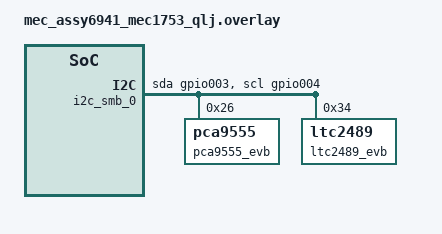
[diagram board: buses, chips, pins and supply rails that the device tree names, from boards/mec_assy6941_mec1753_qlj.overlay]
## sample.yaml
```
sample:
  description: mec_assy6941 with MEC1753Q-LJ I2C pin reuse
  name: mec_assy6941_mec1753_qlj I2C-pin-reuse
tests:
  sample.board.mec_assy6941.i2c_pin_reuse:
    build_only: true
    platform_allow: mec_assy6941/mec1753_qlj
    tags: i2c
    depends_on:
      - gpio
      - i2c
```

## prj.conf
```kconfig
# Enable config log
CONFIG_STDOUT_CONSOLE=y
CONFIG_LOG=y
CONFIG_LOG_BACKEND_UART=y

CONFIG_CONSOLE=y
CONFIG_UART_CONSOLE=y

CONFIG_I2C=y

CONFIG_PM=n
# CONFIG_DEBUG=y
```

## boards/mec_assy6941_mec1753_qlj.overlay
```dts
/*
 * Copyright (c) 2022 Microchip Technology Inc.
 *
 * SPDX-License-Identifier: Apache-2.0
 */

/ {
	aliases {
		i2c0 = &i2c_smb_0;
	};

	zephyr,user {
		i2c-port0-gpios = <MCHP_GPIO_DECODE_003 GPIO_ACTIVE_HIGH>,
				  <MCHP_GPIO_DECODE_004 GPIO_ACTIVE_HIGH>;

/*		pinctrl-0 = <&i2c00_sda_gpio003 &i2c00_scl_gpio004>; */
	};
};

/*
&pinctrl {
	i2c00_sda_gpio003_sleep: i2c00_sda_gpio003_sleep {
		pinmux = <MCHP_XEC_PINMUX(0003, MCHP_GPIO)>;
		low-power-enable;
	};

	i2c00_scl_gpio004_sleep: i2c00_scl_gpio004_sleep {
		pinmux = <MCHP_XEC_PINMUX(0004, MCHP_GPIO)>;
		low-power-enable;
	};

	i2c00_sda_gpio003_gpio: i2c00_sda_gpio003_gpio {
		pinmux = <MCHP_XEC_PINMUX(0003, MCHP_GPIO)>;
	};

	i2c00_scl_gpio004_gpio: i2c00_scl_gpio004_gpio {
		pinmux = <MCHP_XEC_PINMUX(0004, MCHP_GPIO)>;
	};
};
*/

/* I2C Port 0 */
&i2c00_sda_gpio003 {
	drive-open-drain;
	output-enable;
	output-high;
	drive-strength = <2>;
};

&i2c00_scl_gpio004 {
	drive-open-drain;
	output-enable;
	output-high;
	drive-strength = <2>;
};

&i2c_smb_0 {
	compatible = "microchip,xec-i2c-v2";
	status = "okay";

	port-sel = <0>;

	sda-gpios = <MCHP_GPIO_DECODE_003 GPIO_ACTIVE_HIGH>;
	scl-gpios = <MCHP_GPIO_DECODE_004 GPIO_ACTIVE_HIGH>;

	pinctrl-0 = <&i2c00_sda_gpio003 &i2c00_scl_gpio004>;
	pinctrl-names = "default";
/*
	pinctrl-1 = <&i2c00_sda_gpio003_sleep &i2c00_scl_gpio004_sleep>;
	pinctrl-names = "default", "sleep";
*/
	pca9555_evb: pca9555@26 {
		/* compatible = "nxp,pca9555"; */
		reg = <0x26>;
		/* ngpios = <16>; */
		/* gpio-controller; */
		/* #gpio-cells = <2>; */
	};

	ltc2489_evb: ltc2489@34 {
		reg = <0x34>;
		#io-channels-cells = <1>;
	};
};
```

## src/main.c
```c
/*
 * Copyright (c) 2026 Microchip Technology Inc.
 *
 * SPDX-License-Identifier: Apache-2.0
 */

#include <errno.h>
#include <stdio.h>
#include <string.h>
#include <soc.h>
#include <zephyr/kernel.h>
#include <zephyr/device.h>
#include <zephyr/drivers/gpio.h>
#include <zephyr/drivers/i2c.h>
#include <zephyr/drivers/pinctrl.h>
#include <zephyr/logging/log.h>
LOG_MODULE_REGISTER(app, CONFIG_LOG_DEFAULT_LEVEL);

#define I2C_CTRL0_NODE   DT_NODELABEL(i2c_smb_0)
#define ZEPHYR_USER_NODE DT_PATH(zephyr_user)

#define I2C_CTRL0_REG_BASE DT_REG_ADDR(I2C_CTRL0_NODE)

#define MCHP_XEC_I2C_CFG_REG_OFS 0x28U
#define MCHP_XEC_I2C_CFG_EN_POS  10

#define XEC_GPIO_BANK0_BASE_ADDR DT_REG_ADDR(DT_NODELABEL(gpio_000_036))
#define XEC_GPIO_PIN_CTRL_REG_ADDR(bank_base, pin_pos) \
	((uint32_t)(bank_base) + ((uint32_t)(pin_pos) * 4U))

#define XEC_GPIO_003_CR_ADDR XEC_GPIO_PIN_CTRL_REG_ADDR(XEC_GPIO_BANK0_BASE_ADDR, 3U)
#define XEC_GPIO_004_CR_ADDR XEC_GPIO_PIN_CTRL_REG_ADDR(XEC_GPIO_BANK0_BASE_ADDR, 4U)

#define PCA9555_CMD_PORT0_IN  0
#define PCA9555_CMD_PORT1_IN  1u
#define PCA9555_CMD_PORT0_OUT 2u
#define PCA9555_CMD_PORT1_OUT 3u
#define PCA9555_CMD_PORT0_POL 4u
#define PCA9555_CMD_PORT1_POL 5u
#define PCA9555_CMD_PORT0_CFG 6u
#define PCA9555_CMD_PORT1_CFG 7u

#define PCA9555_I2C_NODE DT_NODELABEL(pca9555_evb)
#define PCA9555_I2C_PORT DT_PROP(DT_PARENT(PCA9555_I2C_NODE), port_sel)
#define PCA9555_I2C_ADDR DT_REG_ADDR(PCA9555_I2C_NODE)

#define LTC2489_I2C_NODE DT_NODELABEL(ltc2489_evb))
#define LTC2489_I2C_PORT DT_PROP(DT_PARENT(LTC2489_I2C_NODE), port_sel)
#define LTC2489_I2C_ADDR DT_REG_ADDR(DT_NODELABEL(ltc2489_evb))

#define APP_I2C_TX_BUF_SIZE 32
#define APP_I2C_RX_BUF_SIZE 32

/* !!!! WARNING NOT A GOOD SOLUTION !!!!
 * Getting a pointer to a driver's PINCTRL structure requires
 * CONFIG_PINCTRL_NON_STATIC=y
 * This Kconfig forces ALL PINCTRL structures be located in data RAM
 * !!!!!!!!!!!!!!!!!!!!!!!!!!!!!!!!!!!!!
 *
 * Instead we will duplicate the specific I2C controller pinctrl-0 in zephyr,user
 */
#if 0
static const struct pinctrl_dev_config *i2c_port0_pcfg = PINCTRL_DT_DEV_CONFIG_GET(I2C_CTRL0_NODE);
#else
// PINCTRL_DT_DEFINE(ZEPHYR_USER_NODE);
//static const struct pinctrl_dev_config *i2c_port0_pcfg = PINCTRL_DT_DEV_CONFIG_GET(ZEPHYR_USER_NODE);
#endif

const struct gpio_dt_spec i2c_port0_sda_pin_dt =
	GPIO_DT_SPEC_GET_BY_IDX(ZEPHYR_USER_NODE, i2c_port0_gpios, 0);

const struct gpio_dt_spec i2c_port0_scl_pin_dt =
	GPIO_DT_SPEC_GET_BY_IDX(ZEPHYR_USER_NODE, i2c_port0_gpios, 1);

const struct device *i2c0_dev = DEVICE_DT_GET(I2C_CTRL0_NODE);

static uint8_t i2c_tx_buf[APP_I2C_TX_BUF_SIZE];
static uint8_t i2c_rx_buf[APP_I2C_RX_BUF_SIZE];

int main(void)
{
	uint32_t gpio_ctrl[2] = {0};
	uint32_t i2c0_config = 0, ntx = 0, nrx = 0;
	int rc = 0;
	uint16_t i2c_addr = 0;

	LOG_INF("I2C pin reuse test app: main entry");

	if (!device_is_ready(i2c0_dev)) {
		LOG_ERR("I2C Controller 0 is not ready!");
		return -1;
	}

	i2c0_config = I2C_MODE_CONTROLLER | I2C_SPEED_SET(I2C_SPEED_STANDARD);

	rc = i2c_configure(i2c0_dev, i2c0_config);
	if (rc != 0) {
		LOG_ERR("I2C Controller 0 config value: 0x%08x got error (%d)", i2c0_config, rc);
		return -2;
	}

	LOG_INF("Read PCA9555 I2C device port 0 and port 1 registers");
	i2c_addr = (uint16_t)PCA9555_I2C_ADDR;
	i2c_tx_buf[0] = PCA9555_CMD_PORT0_IN;

	ntx = 1U;
	nrx = 2U;

	rc = i2c_write_read(i2c0_dev, i2c_addr, (const void *)i2c_tx_buf, ntx,
			    (void *)i2c_rx_buf, nrx);
	if (rc != 0) {
		LOG_ERR("i2c_write_read error (%d)", rc);
		return -3;
	}

	LOG_INF("PCA9555 Input Port0 = 0x%02X  Port1 = 0x%02X", i2c_rx_buf[0], i2c_rx_buf[1]);

	LOG_INF("Re-use I2C Port 0 pins");

	LOG_INF("1. Disable I2C Controller 0");
	sys_clear_bit(I2C_CTRL0_REG_BASE + MCHP_XEC_I2C_CFG_REG_OFS, MCHP_XEC_I2C_CFG_EN_POS);

	LOG_INF("2. Save I2C Controller 0 pin GPIO control register values");
	gpio_ctrl[0] = sys_read32(XEC_GPIO_003_CR_ADDR);
	gpio_ctrl[1] = sys_read32(XEC_GPIO_004_CR_ADDR);
	LOG_INF("Saved GPIO 003 Control reg = 0x%0x", gpio_ctrl[0]);
	LOG_INF("Saved GPIO 004 Control reg = 0x%0x", gpio_ctrl[1]);

	LOG_INF("3. Reconfigure I2C Port 0 pins as GPIO Output drive high and enable input");
	rc = gpio_pin_configure_dt(&i2c_port0_sda_pin_dt, GPIO_OUTPUT_HIGH | GPIO_INPUT);
	if (rc != 0) {
		LOG_ERR("Error configuring SDA as GPIO_OUTPUT_HIGH (%d)", rc);
		return -4;
	}

	rc = gpio_pin_configure_dt(&i2c_port0_scl_pin_dt, GPIO_OUTPUT_HIGH | GPIO_INPUT);
	if (rc != 0) {
		LOG_ERR("Error configuring SCL as GPIO_OUTPUT_HIGH (%d)", rc);
		return -5;
	}

	LOG_INF("Reconfig of GPIO003 as GPIO = 0x%0x", sys_read32(XEC_GPIO_003_CR_ADDR));
	LOG_INF("Reconfig of GPIO004 as GPIO = 0x%0x", sys_read32(XEC_GPIO_004_CR_ADDR));

	k_busy_wait(10U); /* 10 microseconds */

	LOG_INF("4. Use the pins as GPIOs");

	/* App would use the pins */
	LOG_INF("5. Drive a square wave on SDA");
	for (int i = 0; i < 10; i++) {
		gpio_pin_set_dt(&i2c_port0_sda_pin_dt, 0);
		k_busy_wait(10U);
		gpio_pin_set_dt(&i2c_port0_sda_pin_dt, 1);
		k_busy_wait(10U);
	}

	/* Process to re-enable I2C */

	/* Fist generate an I2C STOP in case any I2C devices attached to these pin were
	 * put into a bad state by our use of the pins as GPIOs
	 * I2C STOP is SCL is stable High and 1/2 to 1 I2C clock later SDA has low to high edge
	 */

	LOG_INF("6. Before restoring pins for I2C, generate an I2C STOP to ensure any I2C devices are OK");

	/* Drive SCL high and SDA low */
	gpio_pin_set_dt(&i2c_port0_scl_pin_dt, 1);
	gpio_pin_set_dt(&i2c_port0_sda_pin_dt, 0);

	k_busy_wait(10U); /* One 100 KHz clock */

	/* Drive SDA high */
	gpio_pin_set_dt(&i2c_port0_sda_pin_dt, 1);

	k_busy_wait(10U); /* One 100 KHz clock */

	rc = gpio_pin_get_dt(&i2c_port0_scl_pin_dt);
	if (rc != 1) {
		LOG_ERR("After using pins to generate I2C STOP, we see SCL is LOW (%d)", rc);
		return -6;
	}

	rc = gpio_pin_get_dt(&i2c_port0_sda_pin_dt);
	if (rc != 1) {
		LOG_ERR("After using pins to generate I2C STOP, we see SDA is LOW (%d)", rc);
		return -6;
	}

	LOG_INF("7. Restore pins GPIO Control registers back to I2C driver PINCTRL settings");
	sys_write32(gpio_ctrl[0], XEC_GPIO_003_CR_ADDR);
	sys_write32(gpio_ctrl[1], XEC_GPIO_004_CR_ADDR);

	/* LOG_INF("Re-enable I2C Controller 0"); */
	sys_set_bit(I2C_CTRL0_REG_BASE + MCHP_XEC_I2C_CFG_REG_OFS, MCHP_XEC_I2C_CFG_EN_POS);

	/* LOG_INF("Re-configure I2C Controller 0"); */
	rc = i2c_configure(i2c0_dev, i2c0_config);
	if (rc != 0) {
		LOG_ERR("I2C Controller 0 config value: 0x%08x got error (%d)", i2c0_config, rc);
		return -7;
	}

	LOG_INF("8. Read PCA9555 I2C device port 0 and port 1 registers");
	i2c_addr = (uint16_t)PCA9555_I2C_ADDR;
	i2c_tx_buf[0] = PCA9555_CMD_PORT0_IN;

	ntx = 1U;
	nrx = 2U;

	rc = i2c_write_read(i2c0_dev, i2c_addr, (const void *)i2c_tx_buf, ntx,
			    (void *)i2c_rx_buf, nrx);
	if (rc != 0) {
		LOG_ERR("i2c_write_read error (%d)", rc);
		return -9;
	}

	LOG_INF("PCA9555 Input Port0 = 0x%02X  Port1 = 0x%02X", i2c_rx_buf[0], i2c_rx_buf[1]);

	LOG_INF("Application End");

	return 0;
}
```
